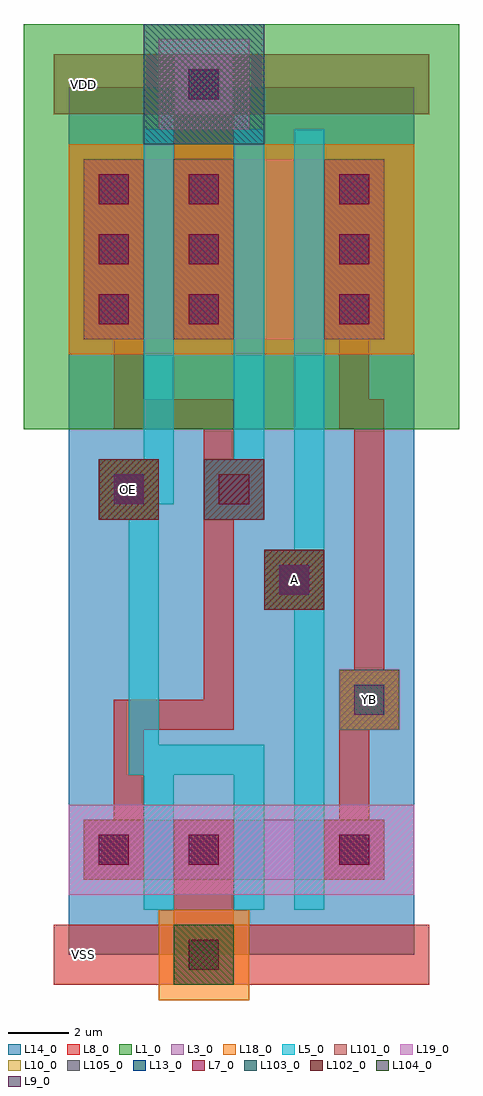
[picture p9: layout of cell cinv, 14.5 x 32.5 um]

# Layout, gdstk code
import gdstk
lib = gdstk.Library(unit=1e-6, precision=1e-09)
def R(c, l, rs):  # rectangles x0, y0, x1, y1
    for r in rs: c.add(gdstk.rectangle(r[:2], r[2:], *l))
L1_0 = (1, 0)
L3_0 = (3, 0)
L5_0 = (5, 0)
L7_0 = (7, 0)
L8_0 = (8, 0)
L9_0 = (9, 0)
L10_0 = (10, 0)
L13_0 = (13, 0)
L14_0 = (14, 0)
L18_0 = (18, 0)
L19_0 = (19, 0)
L101_0 = (101, 0)
L102_0 = (102, 0)
L103_0 = (103, 0)
L104_0 = (104, 0)
L105_0 = (105, 0)

via = lib.new_cell('Via')
R(via, L8_0, [(-1,-1,1,1)])
R(via, L9_0, [(-0.5,-0.5,0.5,0.5)])
R(via, L10_0, [(-1,-1,1,1)])
R(via, L13_0, [(-0.5,-0.5,0.5,0.5)])
R(via, L105_0, [(-1,-1,1,1)])
via.add(gdstk.Label('via', (0,0), layer=13, texttype=0))

dcont = lib.new_cell('dcont')
R(dcont, L3_0, [(-1,-1,1,1)])
R(dcont, L7_0, [(-0.5,-0.5,0.5,0.5)])
R(dcont, L8_0, [(-1,-1,1,1)])
R(dcont, L13_0, [(-0.5,-0.5,0.5,0.5)])
R(dcont, L101_0, [(-1,-1,1,1)])
dcont.add(gdstk.Label('dcont', (0,0), layer=13, texttype=0))

pcont = lib.new_cell('pcont')
R(pcont, L5_0, [(-1,-1,1,1)])
R(pcont, L7_0, [(-0.5,-0.5,0.5,0.5)])
R(pcont, L8_0, [(-1,-1,1,1)])
R(pcont, L102_0, [(-1,-1,1,1)])
pcont.add(gdstk.Label('pcont', (0,0), layer=13, texttype=0))

nsubcont = lib.new_cell('nsubcont')
R(nsubcont, L1_0, [(-2,-2,2,2)])
R(nsubcont, L19_0, [(-1.5,-1.5,1.5,1.5)])
R(nsubcont, L103_0, [(-2,-2,2,2)])
nsubcont.add(gdstk.Reference(dcont, (0,0)))
nsubcont.add(gdstk.Label('NScont', (0,0), layer=13, texttype=0))

psubcont = lib.new_cell('psubcont')
R(psubcont, L18_0, [(-1.5,-1.5,1.5,1.5)])
R(psubcont, L104_0, [(-1,-1,1,1)])
psubcont.add(gdstk.Reference(dcont, (0,0)))
psubcont.add(gdstk.Label('PScon', (0,0), layer=13, texttype=0))

cinv = lib.new_cell('cinv')
R(cinv, L1_0, [(-1.5,17.5,13,31)])
R(cinv, L3_0, [(0.5,2.5,8.5,4.5), (8.5,2.5,10.5,4.5), (0.5,20.5,10.5,26.5)])
R(cinv, L8_0, [(-0.5,-1,12,1), (-0.5,-1,12,1), (9,7.5,11,9.5), (9,7.5,11,9.5), (6.5,11.5,8.5,13.5), (6.5,11.5,8.5,13.5), (1,14.5,3,16.5), (1,14.5,3,16.5), (-0.5,28,12,30), (-0.5,28,12,30)])
R(cinv, L10_0, [(9,7.5,11,9.5), (9,7.5,11,9.5), (6.5,11.5,8.5,13.5), (6.5,11.5,8.5,13.5), (1,14.5,3,16.5), (1,14.5,3,16.5)])
R(cinv, L14_0, [(0,0,11.5,28.9)])
R(cinv, L18_0, [(0,20,11.5,27)])
R(cinv, L19_0, [(0,2,11.5,5)])
R(cinv, L105_0, [(9,7.5,11,9.5), (6.5,11.5,8.5,13.5), (1,14.5,3,16.5)])
cinv.add(gdstk.FlexPath([(3,6.5),(6,6.5),(6,2)], 1, ends="extended", simple_path=True, layer=5, datatype=0))  # L5_0
cinv.add(gdstk.FlexPath([(6,27),(6,15.5)], 1, ends="extended", simple_path=True, layer=5, datatype=0))  # L5_0
cinv.add(gdstk.FlexPath([(8,27),(8,2)], 1, ends="extended", simple_path=True, layer=5, datatype=0))  # L5_0
cinv.add(gdstk.FlexPath([(3,27),(3,15.5),(2.5,15.5),(2.5,6.5),(3,6.5),(3,2)], 1, ends="extended", simple_path=True, layer=5, datatype=0))  # L5_0
cinv.add(gdstk.FlexPath([(9.5,20.5),(9.5,18),(10,18),(10,8.5),(9.5,8.5),(9.5,3.5)], 1, ends="extended", simple_path=True, layer=8, datatype=0))  # L8_0
cinv.add(gdstk.FlexPath([(9.5,22.3),(9.5,25.5)], 1.4, ends="extended", simple_path=True, layer=8, datatype=0))  # L8_0
cinv.add(gdstk.FlexPath([(4.5,1),(4.5,3.5)], 2, ends="extended", simple_path=True, layer=8, datatype=0))  # L8_0
cinv.add(gdstk.FlexPath([(4.5,21.5),(4.5,28.5)], 2, ends="extended", simple_path=True, layer=8, datatype=0))  # L8_0
cinv.add(gdstk.FlexPath([(2,24.5),(2,18),(5,18),(5,8),(2,8),(2,3.5)], 1, ends="extended", simple_path=True, layer=8, datatype=0))  # L8_0
cinv.add(gdstk.FlexPath([(1.5,22.1),(1.5,25.5)], 1.4, ends="extended", simple_path=True, layer=8, datatype=0))  # L8_0
cinv.add(gdstk.Reference(via, (7.5,12.5)))
cinv.add(gdstk.Reference(dcont, (4.5,25.5)))
cinv.add(gdstk.Reference(dcont, (1.5,23.5)))
cinv.add(gdstk.Reference(dcont, (9.5,3.5)))
cinv.add(gdstk.Reference(dcont, (4.5,21.5)))
cinv.add(gdstk.Reference(pcont, (2,15.5)))
cinv.add(gdstk.Reference(nsubcont, (4.5,29)))
cinv.add(gdstk.Reference(dcont, (1.5,3.5)))
cinv.add(gdstk.Reference(psubcont, (4.5,0)))
cinv.add(gdstk.Reference(dcont, (4.5,23.5)))
cinv.add(gdstk.Reference(dcont, (9.5,21.5)))
cinv.add(gdstk.Reference(dcont, (1.5,21.5)))
cinv.add(gdstk.Reference(via, (2,15.5)))
cinv.add(gdstk.Reference(dcont, (9.5,23.5)))
cinv.add(gdstk.Reference(via, (10,8.5)))
cinv.add(gdstk.Reference(dcont, (1.5,25.5)))
cinv.add(gdstk.Reference(pcont, (5.5,15.5)))
cinv.add(gdstk.Reference(dcont, (9.5,25.5)))
cinv.add(gdstk.Reference(pcont, (7.5,12.5)))
cinv.add(gdstk.Reference(dcont, (4.5,3.5)))
cinv.add(gdstk.Label('VDD', (0.5,29), layer=8, texttype=0))
cinv.add(gdstk.Label('VSS', (0.5,0), layer=8, texttype=0))
cinv.add(gdstk.Label('A', (7.5,12.5), layer=10, texttype=0))
cinv.add(gdstk.Label('OE', (2,15.5), layer=10, texttype=0))
cinv.add(gdstk.Label('YB', (10,8.5), layer=10, texttype=0))
cinv.add(gdstk.Label('via', (10,8.5), layer=13, texttype=0))
cinv.add(gdstk.Label('via', (2,15.5), layer=13, texttype=0))
cinv.add(gdstk.Label('via', (7.5,12.5), layer=13, texttype=0))

lib.write_gds('cinv.gds')
